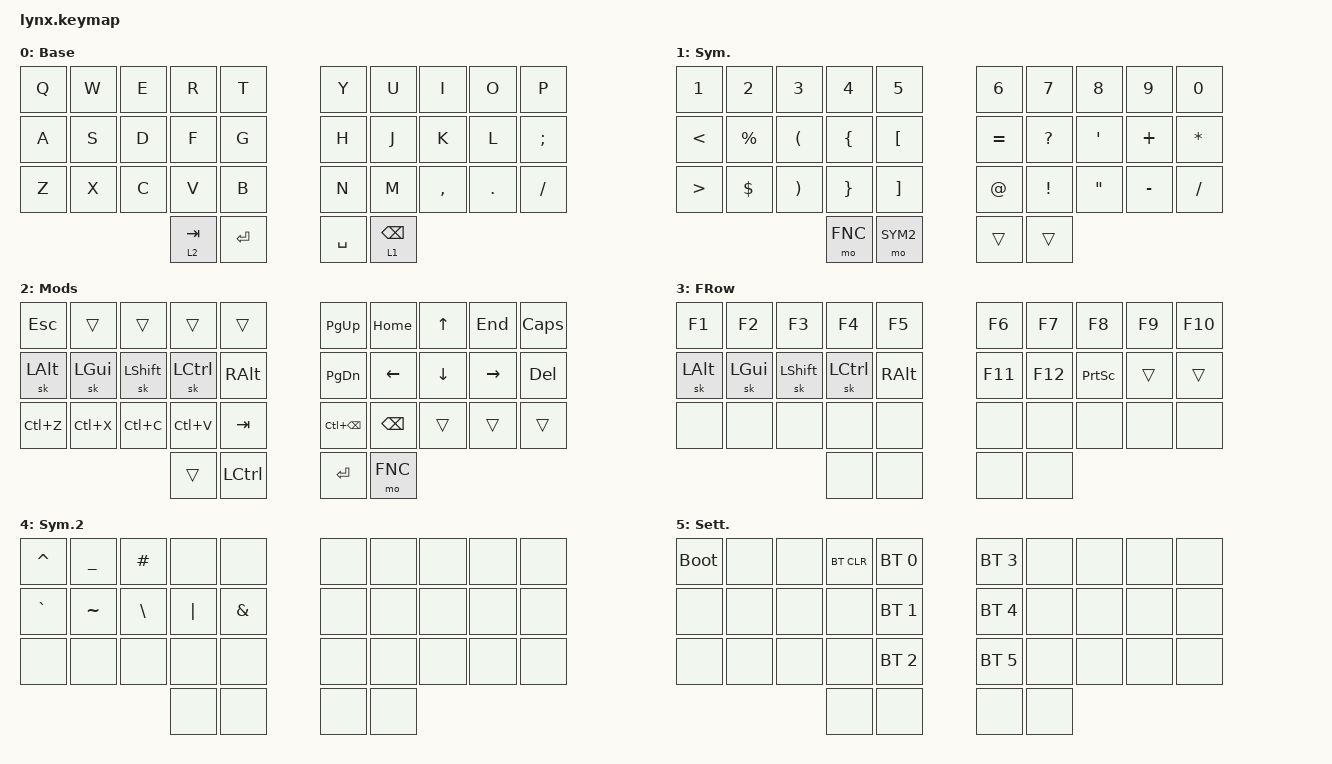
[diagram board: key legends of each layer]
// vim: set ts=4 sw=4:

// TODO: go over this code one more time, I'm pretty sure its not correct
// TODO: take advantage of conditional_layers, specially to access SETTINGS layer

/*
 * REFERENCE: 
 * List of behaviors
 *     &kp    : key-press
 *     &mt    : mode-tap
 *     &mo    : momentary layer
 *     &lt    : layer-tap
 *     &sk    : sticky key
 *     &tog   : toogle layer
 *     &trans : transparent key
 *     &none  : none (swallow) key
 */

#include <behaviors.dtsi>
#include <dt-bindings/zmk/bt.h>
#include <dt-bindings/zmk/keys.h>
#include <dt-bindings/zmk/outputs.h>

// Layer definitions
#define BASE 0
#define SYM 1
#define EXT 2
#define FNC 3
#define SYM2 4
#define SETTINGS 5
// -----------------

// Global sticky key config
&sk {
    // don't release mods on other mods presses
    ignore-modifiers;
};

/ {
    // Creating macros
    macros {
        // sometimes my device thinks a modifier is being held down
        // pressing all modifiers fixes it.
        unstick: unstick {
            label = "ZM_unstick";
            compatible = "zmk,behavior-macro";
            #binding-cells = <0>;
            bindings = <&kp LSHIFT &kp RSHIFT &kp LCTRL &kp RCTRL &kp LALT &kp RALT &kp LGUI &kp RGUI>;
        };
    };

    // NOTE: combine multiple keypresses to output a different key. They processed 
    // before then normal keymap node.
    combos {
        compatible = "zmk,combos";
        // momentary to SYM2 layer
        combo_sym2 {
            timeout-ms = <200>;
            // internal-left & external-right thumb keys
            key-positions = <31 33>;
            bindings = <&mo SYM2>;
        };
        // momentary to SETTINGS layer
        combo_settings {
            timeout-ms = <200>;
            // both left thumb keys
            key-positions = <30 31>;
            bindings = <&mo SETTINGS>;
        };
    };

    keymap {
        compatible = "zmk,keymap";

        // -------------------------------------- Layer 0 Starts -----------------------------------------------------------------
        // Default alphabetical layer
        default_layer {
            label = "Base";
            bindings = <
                //╭──────────┬──────────┬──────────┬──────────┬──────────╮   ╭──────────┬──────────┬──────────┬──────────┬──────────╮
                //│  Q       │  W       │  E       │  R       │  T       │   │  Y       │  U       │  I       │  O       │  P       │
                    &kp Q      &kp W      &kp E      &kp R      &kp T          &kp Y      &kp U      &kp I      &kp O      &kp P
                //├──────────┼──────────┼──────────┼──────────┼──────────┤   ├──────────┼──────────┼──────────┼──────────┼──────────┤
                //│  A       │  S       │  D       │  F       │  G       │   │  H       │  J       │  K       │  L       │  '       │
                    &kp A      &kp S      &kp D      &kp F      &kp G          &kp H      &kp J      &kp K      &kp L      &kp SEMI
                //├──────────┼──────────┼──────────┼──────────┼──────────┤   ├──────────┼──────────┼──────────┼──────────┼──────────┤
                //│  Z       │  X       │  C       │  V       │  B       │   │  N       │  M       │  ,       │  .       │  /       │
                    &kp Z      &kp X      &kp C      &kp V      &kp B          &kp N      &kp M      &kp COMMA  &kp DOT    &kp FSLH
                //╰──────────┴──────────┴──────────┼──────────┼──────────┤   ├──────────┼──────────┼──────────┴──────────┴──────────╯
                //                                 │  Tab     │  Enter   │   │  Space   │  Bspc    │
                                                     &lt 2 TAB  &kp ENTER      &kp SPACE  &lt 1 BSPC
                //                                 ╰──────────┴──────────╯   ╰──────────┴──────────╯
            >;
        };
        // -------------------------------------- Layer 0 Ends -------------------------------------------------------------------

        // -------------------------------------- Layer 1 Starts -----------------------------------------------------------------
        // Numbers and high frequency symbols
        sym_layer {
            label = "Sym.";
            bindings = <
                //╭──────────┬──────────┬──────────┬──────────┬──────────╮   ╭──────────┬──────────┬──────────┬──────────┬──────────╮
                //│  1       │  2       │  3       │  4       │  5       │   │  6       │  7       │  8       │  9       │  0       │
                    &kp N1     &kp N2     &kp N3     &kp N4     &kp N5         &kp N6     &kp N7     &kp N8     &kp N9     &kp N0
                //├──────────┼──────────┼──────────┼──────────┼──────────┤   ├──────────┼──────────┼──────────┼──────────┼──────────┤
                //│  <       │  %       │  (       │  {       │  [       │   │  =       │  ?       │  '       │  +       │  *       │
                    &kp LT     &kp PRCNT  &kp LPAR   &kp LBRC   &kp LBKT       &kp EQUAL  &kp QMARK  &kp APOS   &kp PLUS   &kp ASTRK
                //├──────────┼──────────┼──────────┼──────────┼──────────┤   ├──────────┼──────────┼──────────┼──────────┼──────────┤
                //│  >       │  $       │  )       │  }       │  ]       │   │  @       │  !       │  "       │  -       │  /       │
                    &kp GT      &kp DLLR  &kp RPAR   &kp RBRC   &kp RBKT       &kp AT     &kp EXCL   &kp DQT    &kp MINUS  &kp FSLH
                //╰──────────┴──────────┴──────────┼──────────┼──────────┤   ├──────────┼──────────┼──────────┴──────────┴──────────╯
                //                                 │  Fnc     │  Sym2    │   │          │          │
                                                     &mo FNC    &mo SYM2       &trans     &trans
                //                                 ╰──────────┴──────────╯   ╰──────────┴──────────╯
            >;
        };
        // -------------------------------------- Layer 1 Ends -------------------------------------------------------------------

        // -------------------------------------- Layer 2 Starts -----------------------------------------------------------------
        // Main modifiers and arrow keys
        ext_layer {
            label = "Mods";
            bindings = <
                //╭──────────┬──────────┬──────────┬──────────┬──────────╮   ╭──────────┬──────────┬──────────┬──────────┬──────────╮
                //│  ESC     │          │          │          │          │   │  Page UP │  HOME    │  Up      │  End     │  Caps Lk │
                    &kp ESC    &trans     &trans     &trans     &trans         &kp PG_UP  &kp HOME   &kp UP     &kp END    &kp CAPS 
                //├──────────┼──────────┼──────────┼──────────┼──────────┤   ├──────────┼──────────┼──────────┼──────────┼──────────┤
                //│  LALT    │  LGUI    │  LSHIFT  │  LCTRL   │  RALT    │   │  Page DW │  left    │  down    │  right   │  Delete  │
                    &sk LALT   &sk LGUI   &sk LSHIFT &sk LCTRL  &kp RALT       &kp PG_DN  &kp LEFT   &kp DOWN   &kp RIGHT  &kp DEL
                //├──────────┼──────────┼──────────┼──────────┼──────────┤   ├──────────┼──────────┼──────────┼──────────┼──────────┤
                //│  C-z     │  C-x     │  C-c     │  C-v     │  TAB     │   │  C-Bspc  │  Bscp    │          │          │          │
                    &kp LC(Z)  &kp LC(X)  &kp LC(C)  &kp LC(V)  &kp TAB        &kp LC(BSPC) &kp BSPC &trans     &trans     &trans 
                //╰──────────┴──────────┴──────────┼──────────┼──────────┤   ├──────────┼──────────┼──────────┴──────────┴──────────╯
                //                                 │          │  Sym2    │   │  Enter   │  Fnc    │
                                                     &trans     &kp LCTRL      &kp ENTER  &mo FNC
                //                                 ╰──────────┴──────────╯   ╰──────────┴──────────╯
            >;
        };
        // -------------------------------------- Layer 2 Ends -------------------------------------------------------------------

        // -------------------------------------- Layer 3 Starts -----------------------------------------------------------------
        // Function layer
        fnc_layer {
            label = "FRow";
            bindings = <
                //╭──────────┬──────────┬──────────┬──────────┬──────────╮   ╭──────────┬──────────┬──────────┬──────────┬──────────╮
                //│  F1      │  F2      │  F3      │  F4      │  F5      │   │  F6      │  F7      │  F8      │  F9      │  F10     │
                    &kp F1     &kp F2     &kp F3     &kp F4     &kp F5         &kp F6     &kp F7     &kp F8     &kp F9     &kp F10
                //├──────────┼──────────┼──────────┼──────────┼──────────┤   ├──────────┼──────────┼──────────┼──────────┼──────────┤
                //│  LALT    │  LGUI    │  LSHIFT  │  LCTRL   │  RALT    │   │  F11     │  F12     │  PrintS  │          │          │
                    &sk LALT   &sk LGUI   &sk LSHIFT &sk LCTRL  &kp RALT       &kp F11    &kp F12    &kp PSCRN  &trans     &trans
                //├──────────┼──────────┼──────────┼──────────┼──────────┤   ├──────────┼──────────┼──────────┼──────────┼──────────┤
                //│          │          │          │          │          │   │          │          │          │          │          │
                    &none      &none      &none      &none      &none          &none      &none      &none      &none      &none     
                //╰──────────┴──────────┴──────────┼──────────┼──────────┤   ├──────────┼──────────┼──────────┴──────────┴──────────╯
                //                                 │          │          │   │          │          │
                                                     &none      &none          &none      &none
                //                                 ╰──────────┴──────────╯   ╰──────────┴──────────╯
            >;
        };
        // -------------------------------------- Layer 3 Ends -------------------------------------------------------------------

        // -------------------------------------- Layer 4 Starts -----------------------------------------------------------------
        // Symbol layer 2
        symbols_2_layer {
            label = "Sym.2";
            bindings = <
                //╭──────────┬──────────┬──────────┬──────────┬──────────╮   ╭──────────┬──────────┬──────────┬──────────┬──────────╮
                //│  ^       │  _       │  #       │          │          │   │  F6      │  F7      │  F8      │  F9      │  F10     │
                    &kp CARET  &kp UNDER  &kp HASH   &none      &none          &none      &none      &none      &none      &none
                //├──────────┼──────────┼──────────┼──────────┼──────────┤   ├──────────┼──────────┼──────────┼──────────┼──────────┤
                //│  `       │  ~       │  \       │  |       │  &       │   │          │          │          │          │          │
                    &kp GRAVE  &kp TILDE  &kp BSLH   &kp PIPE   &kp AMPS       &none      &none      &none      &none      &none
                //├──────────┼──────────┼──────────┼──────────┼──────────┤   ├──────────┼──────────┼──────────┼──────────┼──────────┤
                //│          │          │          │          │          │   │          │          │          │          │          │
                    &none      &none      &none      &none      &none          &none      &none      &none      &none      &none     
                //╰──────────┴──────────┴──────────┼──────────┼──────────┤   ├──────────┼──────────┼──────────┴──────────┴──────────╯
                //                                 │          │          │   │          │          │
                                                     &none      &none          &none      &none
                //                                 ╰──────────┴──────────╯   ╰──────────┴──────────╯
            >;
        };
        // -------------------------------------- Layer 4 Ends -------------------------------------------------------------------

        // -------------------------------------- Layer 5 Starts -----------------------------------------------------------------
        // Used to change the keyboard's settings.
        settings_layer {
            label = "Sett.";
            bindings = <
                //╭──────────┬──────────┬──────────┬──────────┬──────────╮   ╭──────────┬──────────┬──────────┬──────────┬──────────╮
                //│          │          │          │          │          │   │          │          │          │          │          │
                    &bootloader &none     &none     &bt BT_CLR &bt BT_SEL 0   &bt BT_SEL 3 &none    &none      &none       &none
                //├──────────┼──────────┼──────────┼──────────┼──────────┤   ├──────────┼──────────┼──────────┼──────────┼──────────┤
                //│          │          │          │          │          │   │          │          │          │          │          │
                    &none      &none      &none      &none     &bt BT_SEL 1   &bt BT_SEL 4 &none      &none      &none     &none
                //├──────────┼──────────┼──────────┼──────────┼──────────┤   ├──────────┼──────────┼──────────┼──────────┼──────────┤
                //│          │          │          │          │          │   │          │          │          │          │          │
                    &none      &none      &none      &none     &bt BT_SEL 2   &bt BT_SEL 5 &none      &none      &none     &none
                //╰──────────┴──────────┴──────────┼──────────┼──────────┤   ├──────────┼──────────┼──────────┴──────────┴──────────╯
                //                                 │          │          │   │          │          │
                                                     &none      &none          &none      &none
                //                                 ╰──────────┴──────────╯   ╰──────────┴──────────╯
            >;
        };
        // -------------------------------------- Layer 5 Ends -------------------------------------------------------------------
    };
};
